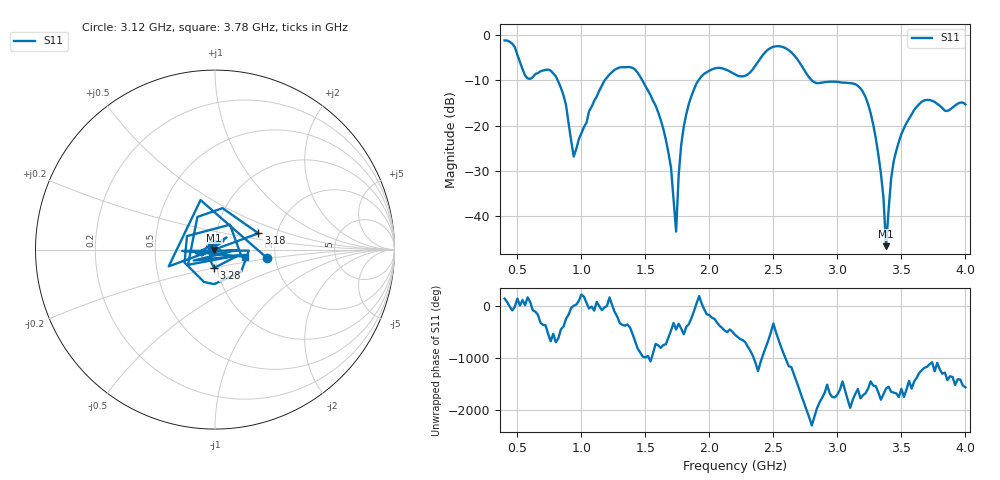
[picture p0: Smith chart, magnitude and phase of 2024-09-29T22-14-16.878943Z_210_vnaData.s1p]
!Created with skrf (http://scikit-rf.org).
# Hz S RI R 50.0
!freq ReS11 ImS11
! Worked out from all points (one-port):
!   181 points, 400 MHz to 4 GHz, reference 50 ohm
!   lowest |S11| = -46.6 dB at 3.38 GHz (marker M1), VSWR 1.01, Z = 49.6 - j0.215 ohm
!   |S11| at or under -10 dB: 814.7 MHz to 1.182 GHz (367.4 MHz wide, 36.8 % of centre); 1.476 GHz to 1.915 GHz (438.8 MHz wide, 25.9 % of centre); 2.799 GHz to end of sweep
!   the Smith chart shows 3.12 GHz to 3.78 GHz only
!   S11 on the Smith chart (normalised r, x): 3.12 GHz: 1.80, -0.18; 3.18 GHz: 1.60, +0.31; 3.28 GHz: 0.97, -0.20; 3.78 GHz: 1.40, -0.12
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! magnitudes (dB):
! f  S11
! 400 MHz  -1.2
! 580 MHz  -9.6
! 760 MHz  -7.9
! 860 MHz  -13.3
! 940 MHz  -26.8
! 1.18 GHz  -10.1
! 1.3 GHz  -7.1
! 1.42 GHz  -7.6
! 1.6 GHz  -17.1
! 1.7 GHz  -29.2
! 1.74 GHz  -43.4
! 1.76 GHz  -30.9
! 1.8 GHz  -20.1
! 1.9 GHz  -10.6
! 2.2 GHz  -8.7
! 2.5 GHz  -2.6
! 2.66 GHz  -4.4
! 2.82 GHz  -10.4
! 3.1 GHz  -10.6
! 3.12 GHz  -10.7
! 3.18 GHz  -11.7
! 3.28 GHz  -19.8
! 3.36 GHz  -35.9
! 3.38 GHz  -46.6
! 3.44 GHz  -27.8
! 3.56 GHz  -18.4
! 3.78 GHz  -15.2
! 4 GHz  -15.3
